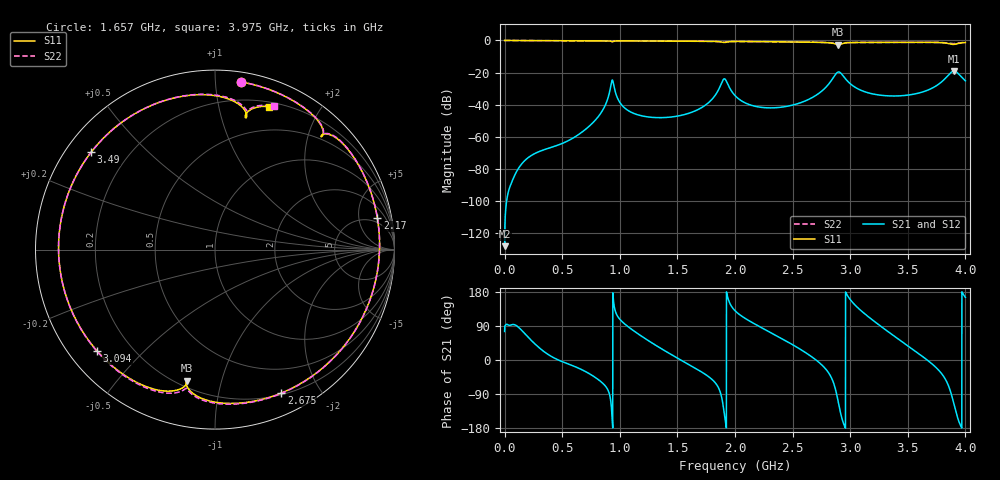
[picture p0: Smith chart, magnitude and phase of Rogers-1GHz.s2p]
! TOUCHSTONE file generated by CST MICROWAVE STUDIO
! Date and time: Sat Sep 27 23:18:30 2025
! Project name: ResonadorAnillo_PadsGndDesplazados_AnchoPistaPin.cst
! Parameters = {Eeff=2.76858; Er=3.55; H=1.56; L1=45.0747; L2=45.0747; L_Ang=9; L_AngTrans=1; L_Base=6.5; L_PadGND=4; L_Pin=4; L_conn=4; L_sma=8.5; Landa=180.299; R_Diel=2.08; R_Pin=0.45; R_sma=2.58; T=0.035; W=3.3; W_Base=1.5; W_PadGND=1.8; W_PistaPin=2.4; W_conn=0.9; Wa=3.3; X=122.745; Y=122.745; 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
! Header version: 2024
! Port assignment regex: !\s*Touchstone port\s*([0-9]+)\s*=\s*(CST MWS port|CST DES external port|CST DES block port)\s*(.+)\s* \(\"(.*)\"\)(\s*mode\s*([0-9]+))?.*
! Touchstone port assignment:
! Touchstone port 1 = CST MWS port 1 ("")
! Touchstone port 2 = CST MWS port 2 ("")
# GHz S MA R 50
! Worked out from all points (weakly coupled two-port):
!   5000 points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, 800 kHz to 4 GHz, reference 50 ohm
!   highest |S21| = -19.06 dB at 3.902 GHz (marker M1); lowest = -128.2 dB at 800 kHz (marker M2)
!   lowest |S11| = -2.5 dB at 2.896 GHz (marker M3), VSWR 6.88, Z = 11.9 - j39.1 ohm
!   |S11| at or under -10 dB: nowhere
!   |S22| runs from -2.0 to 0.0 dB; largest |S21 - S12| = 1.2e-10
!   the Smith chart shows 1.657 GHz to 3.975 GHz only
!   S11 on the Smith chart (normalised r, x): 1.657 GHz: 0.07, +1.17; 2.17 GHz: 3.78, +8.79; 2.675 GHz: 0.22, -1.54; 3.094 GHz: 0.08, -0.37; 3.49 GHz: 0.07, +0.34; 3.975 GHz: 0.24, +1.42
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0.0008  1 -0.1  3.894e-07 75.3  3.894e-07 75.3  1 -0.1
0.3832  0.9917 -61.1  0.0004398 13.7  0.0004398 13.7  0.9917 -61.1
0.668  0.9832 -109.9  0.001359 -25.1  0.001359 -25.1  0.9832 -109.9
0.8408  0.9765 -141.4  0.005788 -58.2  0.005788 -58.2  0.9766 -141.2
0.9352  0.9128 -158.2  0.05858 -159.4  0.05858 -159.4  0.9176 -158.0
1.06  0.9689 179.5  0.007034 90.9  0.007034 90.9  0.9689 179.7
1.3344  0.9591 131.6  0.003935 34.7  0.003935 34.7  0.959 131.8
1.6568  0.9455 81.1  0.006439 -21.9  0.006439 -21.9  0.9456 81.3
1.7976  0.9352 60.5  0.01431 -50.4  0.01431 -50.4  0.9361 60.8
1.9048  0.8636 46.8  0.06343 -136.0  0.06343 -136.0  0.8802 46.9
2.0008  0.9283 34.8  0.01917 130.0  0.01917 130.0  0.9292 34.6
2.1704  0.9215 11.0  0.008977 95.3  0.008977 95.3  0.9217 10.9
2.6672  0.8814 -63.8  0.01637 8.3  0.01637 8.3  0.8836 -63.2
2.6752  0.8805 -65.2  0.01698 6.5  0.01698 6.5  0.8828 -64.6
2.896  0.7462 -102.1  0.104 -109.9  0.104 -109.9  0.7899 -101.6
3.0944  0.8662 -139.4  0.02793 130.1  0.02793 130.1  0.868 -139.2
3.3336  0.8729 172.0  0.01877 73.8  0.01877 73.8  0.8728 172.7
3.4904  0.878 141.9  0.01962 39.5  0.01962 39.5  0.8776 142.7
3.708  0.8738 103.1  0.03222 -9.7  0.03222 -9.7  0.8754 104.0
3.9016  0.7547 77.1  0.1115 -117.8  0.1115 -117.8  0.7948 76.8
3.9752  0.8523 69.2  0.06705 176.8  0.06705 176.8  0.8622 67.6
4  0.8644 64.8  0.05513 165.2  0.05513 165.2  0.8698 63.5
